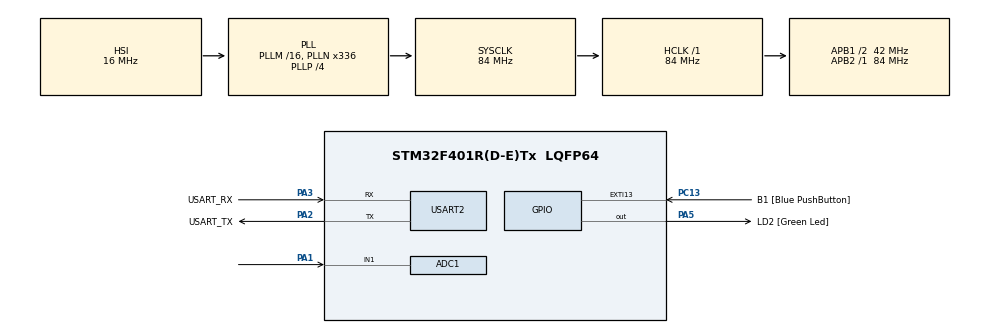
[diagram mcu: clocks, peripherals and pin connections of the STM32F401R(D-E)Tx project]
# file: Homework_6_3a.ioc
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ADC1.Channel-0\#ChannelRegularConversion=ADC_CHANNEL_1
ADC1.Channel-4\#ChannelRegularConversion=ADC_CHANNEL_TEMPSENSOR
ADC1.Channel-5\#ChannelRegularConversion=ADC_CHANNEL_VREFINT
ADC1.DMAContinuousRequests=ENABLE
ADC1.ExternalTrigConv=ADC_EXTERNALTRIGCONV_T2_TRGO
ADC1.InjNumberOfConversion=0
ADC1.NbrOfConversion=3
ADC1.NbrOfConversionFlag=1
ADC1.Rank-0\#ChannelRegularConversion=1
ADC1.Rank-4\#ChannelRegularConversion=2
ADC1.Rank-5\#ChannelRegularConversion=3
ADC1.SamplingTime-0\#ChannelRegularConversion=ADC_SAMPLETIME_480CYCLES
ADC1.SamplingTime-4\#ChannelRegularConversion=ADC_SAMPLETIME_480CYCLES
ADC1.SamplingTime-5\#ChannelRegularConversion=ADC_SAMPLETIME_480CYCLES
ADC1.master=1
Dma.ADC1.0.Direction=DMA_PERIPH_TO_MEMORY
Dma.ADC1.0.FIFOMode=DMA_FIFOMODE_DISABLE
Dma.ADC1.0.Instance=DMA2_Stream0
Dma.ADC1.0.MemDataAlignment=DMA_MDATAALIGN_HALFWORD
Dma.ADC1.0.MemInc=DMA_MINC_ENABLE
Dma.ADC1.0.Mode=DMA_CIRCULAR
Dma.ADC1.0.PeriphDataAlignment=DMA_PDATAALIGN_HALFWORD
Dma.ADC1.0.PeriphInc=DMA_PINC_DISABLE
Dma.ADC1.0.Priority=DMA_PRIORITY_LOW
Dma.Request0=ADC1
Dma.Request1=USART2_TX
Dma.USART2_TX.1.Direction=DMA_MEMORY_TO_PERIPH
Dma.USART2_TX.1.FIFOMode=DMA_FIFOMODE_DISABLE
Dma.USART2_TX.1.Instance=DMA1_Stream6
Dma.USART2_TX.1.MemDataAlignment=DMA_MDATAALIGN_BYTE
Dma.USART2_TX.1.MemInc=DMA_MINC_ENABLE
Dma.USART2_TX.1.Mode=DMA_NORMAL
Dma.USART2_TX.1.PeriphDataAlignment=DMA_PDATAALIGN_BYTE
Dma.USART2_TX.1.PeriphInc=DMA_PINC_DISABLE
Dma.USART2_TX.1.Priority=DMA_PRIORITY_LOW
Mcu.Family=STM32F4
Mcu.Name=STM32F401R(D-E)Tx
Mcu.Package=LQFP64
NVIC.ADC_IRQn=true\:0\:0\:false\:false\:true\:true\:true\:true
NVIC.DMA1_Stream6_IRQn=true\:0\:0\:false\:false\:true\:false\:true\:true
NVIC.DMA2_Stream0_IRQn=true\:0\:0\:false\:false\:true\:false\:true\:true
NVIC.PriorityGroup=NVIC_PRIORITYGROUP_0
NVIC.USART2_IRQn=true\:0\:0\:false\:false\:true\:true\:true\:true
PA1.Signal=ADCx_IN1
PA13.GPIO_Label=TMS
PA13.Mode=Serial_Wire
PA13.Signal=SYS_JTMS-SWDIO
PA14.GPIO_Label=TCK
PA14.Mode=Serial_Wire
PA14.Signal=SYS_JTCK-SWCLK
PA2.GPIO_Label=USART_TX
PA2.GPIO_Mode=GPIO_MODE_AF_PP
PA2.GPIO_PuPd=GPIO_NOPULL
PA2.GPIO_Speed=GPIO_SPEED_FREQ_LOW
PA2.Mode=Asynchronous
PA2.Signal=USART2_TX
PA3.GPIO_Label=USART_RX
PA3.GPIO_Mode=GPIO_MODE_AF_PP
PA3.GPIO_PuPd=GPIO_NOPULL
PA3.GPIO_Speed=GPIO_SPEED_FREQ_LOW
PA3.Mode=Asynchronous
PA3.Signal=USART2_RX
PA5.GPIO_Label=LD2 [Green Led]
PA5.GPIO_Mode=GPIO_MODE_OUTPUT_PP
PA5.GPIO_PuPd=GPIO_NOPULL
PA5.GPIO_Speed=GPIO_SPEED_FREQ_LOW
PA5.Signal=GPIO_Output
PB3.GPIO_Label=SWO
PB3.Signal=SYS_JTDO-SWO
PC13-ANTI_TAMP.GPIO_Label=B1 [Blue PushButton]
PC13-ANTI_TAMP.GPIO_ModeDefaultEXTI=GPIO_MODE_IT_FALLING
PC13-ANTI_TAMP.GPIO_PuPd=GPIO_NOPULL
PC13-ANTI_TAMP.Signal=GPXTI13
PC14-OSC32_IN.Mode=LSE-External-Oscillator
PC14-OSC32_IN.Signal=RCC_OSC32_IN
PC15-OSC32_OUT.Mode=LSE-External-Oscillator
PC15-OSC32_OUT.Signal=RCC_OSC32_OUT
PH0\ -\ OSC_IN.Mode=HSE-External-Clock-Source
PH0\ -\ OSC_IN.Signal=RCC_OSC_IN
PH1\ -\ OSC_OUT.Mode=HSE-External-Clock-Source
PH1\ -\ OSC_OUT.Signal=RCC_OSC_OUT
ProjectManager.HeapSize=0x200
ProjectManager.StackSize=0x400
ProjectManager.TargetToolchain=STM32CubeIDE
RCC.48MHZClocksFreq_Value=48000000
RCC.AHBFreq_Value=84000000
RCC.APB1CLKDivider=RCC_HCLK_DIV2
RCC.APB1Freq_Value=42000000
RCC.APB1TimFreq_Value=84000000
RCC.APB2Freq_Value=84000000
RCC.APB2TimFreq_Value=84000000
RCC.CortexFreq_Value=84000000
RCC.HCLKFreq_Value=84000000
RCC.HSE_VALUE=8000000
RCC.HSI_VALUE=16000000
RCC.PLLN=336
RCC.PLLP=RCC_PLLP_DIV4
RCC.PLLQ=7
RCC.SYSCLKFreq_VALUE=84000000
RCC.SYSCLKSource=RCC_SYSCLKSOURCE_PLLCLK
RCC.VCOOutputFreq_Value=336000000
SH.ADCx_IN1.0=ADC1_IN1,IN1
TIM2.Channel-Output\ Compare1\ No\ Output=TIM_CHANNEL_1
TIM2.Period=9999
TIM2.Prescaler=8399
TIM2.TIM_MasterOutputTrigger=TIM_TRGO_UPDATE
USART2.VirtualMode=VM_ASYNC
VP_ADC1_TempSens_Input.Mode=IN-TempSens
VP_ADC1_Vref_Input.Mode=IN-Vrefint
VP_TIM2_VS_ClockSourceINT.Mode=Internal
VP_TIM2_VS_no_output1.Mode=Output Compare1 No Output
board=NUCLEO-F401RE

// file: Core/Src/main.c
/* USER CODE BEGIN Header */
/**
  ******************************************************************************
  * @file           : main.c
  * @brief          : Main program body
  ******************************************************************************
  * @attention
  *
  * Copyright (c) 2024 STMicroelectronics.
  * All rights reserved.
  *
  * This software is licensed under terms that can be found in the LICENSE file
  * in the root directory of this software component.
  * If no LICENSE file comes with this software, it is provided AS-IS.
  *
  ******************************************************************************
  */
/* USER CODE END Header */
#include "main.h"
#include "math.h"

ADC_HandleTypeDef hadc1;
DMA_HandleTypeDef hdma_adc1;

TIM_HandleTypeDef htim2;

UART_HandleTypeDef huart2;
DMA_HandleTypeDef hdma_usart2_tx;

void SystemClock_Config(void);
static void MX_GPIO_Init(void);
static void MX_DMA_Init(void);
static void MX_USART2_UART_Init(void);
static void MX_ADC1_Init(void);
static void MX_TIM2_Init(void);

/* USER CODE BEGIN 0 */

uint16_t voltages[3]; //This array stores ADC readings from three different channels:
//voltages[0] → Potentiometer voltage
//voltages[1] → Temperature sensor voltage
//voltages[2] → Internal reference voltage (Vrefint)

void HAL_UART_TxCpltCallback(UART_HandleTypeDef *huart)
{
  if(huart == &huart2){
	  __HAL_DMA_CLEAR_FLAG(&hdma_usart2_tx, DMA_FLAG_TCIF2_6);  //Triggered when a UART DMA transmission is complete.
	  //Checks if the callback is from UART2.
	  //Clears the DMA transfer complete flag (DMA_FLAG_TCIF2_6) to indicate the transfer has finished.

  }
}
void HAL_ADC_ConvCpltCallback(ADC_HandleTypeDef *hadc) //Triggered when ADC conversion (DMA mode) is complete.Processes the ADC values and sends them via UART.

{
	if(hadc == &hadc1){
		float vpot = ((float)voltages[0])*3.3/4096.0;
			float vtemp = ((float)voltages[1])*3.3/4096.0 ;
			float vrefint = ((float)voltages[2])*3.3/4096.0;

			float temp = (vtemp-0.76)/0.0025 + 25;  //internal temperature sensor:0.76V → Voltage at 25°C.and 0.0025 V/°C → Voltage change per °C.

			static char string [74];

			int length= snprintf(string, sizeof(string), "Potentiometer: %.3f V  Temperature: %.3f degrees  Vrefint: %.3f V \r\n",vpot,temp,vrefint);
			HAL_UART_Transmit_DMA(&huart2, string, length);
	}

}

/* USER CODE END 0 */

int main(void)
{

  /* MCU Configuration--------------------------------------------------------*/

  /* Reset of all peripherals, Initializes the Flash interface and the Systick. */
  HAL_Init();

  /* Configure the system clock */
  SystemClock_Config();

  /* Initialize all configured peripherals */
  MX_GPIO_Init();
  MX_DMA_Init();
  MX_USART2_UART_Init();
  MX_ADC1_Init();
  MX_TIM2_Init();
  /* USER CODE BEGIN 2 */

  HAL_TIM_Base_Start(&htim2);

  HAL_ADC_Start_DMA(&hadc1, voltages, sizeof(voltages)/sizeof(uint16_t));
  /* USER CODE END 2 */

  /* Infinite loop */
  while (1)
  {

  }
}

void SystemClock_Config(void)
{
  RCC_OscInitTypeDef RCC_OscInitStruct = {0};
  RCC_ClkInitTypeDef RCC_ClkInitStruct = {0};

  /** Configure the main internal regulator output voltage
  */
  __HAL_RCC_PWR_CLK_ENABLE();
  __HAL_PWR_VOLTAGESCALING_CONFIG(PWR_REGULATOR_VOLTAGE_SCALE2);

  /** Initializes the RCC Oscillators according to the specified parameters
  * in the RCC_OscInitTypeDef structure.
  */
  RCC_OscInitStruct.OscillatorType = RCC_OSCILLATORTYPE_HSI;
  RCC_OscInitStruct.HSIState = RCC_HSI_ON;
  RCC_OscInitStruct.HSICalibrationValue = RCC_HSICALIBRATION_DEFAULT;
  RCC_OscInitStruct.PLL.PLLState = RCC_PLL_ON;
  RCC_OscInitStruct.PLL.PLLSource = RCC_PLLSOURCE_HSI;
  RCC_OscInitStruct.PLL.PLLM = 16;
  RCC_OscInitStruct.PLL.PLLN = 336;
  RCC_OscInitStruct.PLL.PLLP = RCC_PLLP_DIV4;
  RCC_OscInitStruct.PLL.PLLQ = 7;
  if (HAL_RCC_OscConfig(&RCC_OscInitStruct) != HAL_OK)
  {
    Error_Handler();
  }

  /** Initializes the CPU, AHB and APB buses clocks
  */
  RCC_ClkInitStruct.ClockType = RCC_CLOCKTYPE_HCLK|RCC_CLOCKTYPE_SYSCLK
                              |RCC_CLOCKTYPE_PCLK1|RCC_CLOCKTYPE_PCLK2;
  RCC_ClkInitStruct.SYSCLKSource = RCC_SYSCLKSOURCE_PLLCLK;
  RCC_ClkInitStruct.AHBCLKDivider = RCC_SYSCLK_DIV1;
  RCC_ClkInitStruct.APB1CLKDivider = RCC_HCLK_DIV2;
  RCC_ClkInitStruct.APB2CLKDivider = RCC_HCLK_DIV1;

  if (HAL_RCC_ClockConfig(&RCC_ClkInitStruct, FLASH_LATENCY_2) != HAL_OK)
  {
    Error_Handler();
  }
}

static void MX_ADC1_Init(void)
{

  ADC_ChannelConfTypeDef sConfig = {0};

  /** Configure the global features of the ADC (Clock, Resolution, Data Alignment and number of conversion)
  */
  hadc1.Instance = ADC1;
  hadc1.Init.ClockPrescaler = ADC_CLOCK_SYNC_PCLK_DIV4;
  hadc1.Init.Resolution = ADC_RESOLUTION_12B;
  hadc1.Init.ScanConvMode = ENABLE;
  hadc1.Init.ContinuousConvMode = DISABLE;
  hadc1.Init.DiscontinuousConvMode = DISABLE;
  hadc1.Init.ExternalTrigConvEdge = ADC_EXTERNALTRIGCONVEDGE_RISING;
  hadc1.Init.ExternalTrigConv = ADC_EXTERNALTRIGCONV_T2_TRGO;
  hadc1.Init.DataAlign = ADC_DATAALIGN_RIGHT;
  hadc1.Init.NbrOfConversion = 3;
  hadc1.Init.DMAContinuousRequests = ENABLE;
  hadc1.Init.EOCSelection = ADC_EOC_SINGLE_CONV;
  if (HAL_ADC_Init(&hadc1) != HAL_OK)
  {
    Error_Handler();
  }

  /** Configure for the selected ADC regular channel its corresponding rank in the sequencer and its sample time.
  */
  sConfig.Channel = ADC_CHANNEL_1;
  sConfig.Rank = 1;
  sConfig.SamplingTime = ADC_SAMPLETIME_480CYCLES;
  if (HAL_ADC_ConfigChannel(&hadc1, &sConfig) != HAL_OK)
  {
    Error_Handler();
  }

  /** Configure for the selected ADC regular channel its corresponding rank in the sequencer and its sample time.
  */
  sConfig.Channel = ADC_CHANNEL_TEMPSENSOR;
  sConfig.Rank = 2;
  if (HAL_ADC_ConfigChannel(&hadc1, &sConfig) != HAL_OK)
  {
    Error_Handler();
  }

  /** Configure for the selected ADC regular channel its corresponding rank in the sequencer and its sample time.
  */
  sConfig.Channel = ADC_CHANNEL_VREFINT;
  sConfig.Rank = 3;
  if (HAL_ADC_ConfigChannel(&hadc1, &sConfig) != HAL_OK)
  {
    Error_Handler();
  }

}

static void MX_TIM2_Init(void)
{

  TIM_ClockConfigTypeDef sClockSourceConfig = {0};
  TIM_MasterConfigTypeDef sMasterConfig = {0};
  TIM_OC_InitTypeDef sConfigOC = {0};

  htim2.Instance = TIM2;
  htim2.Init.Prescaler = 8399;
  htim2.Init.CounterMode = TIM_COUNTERMODE_UP;
  htim2.Init.Period = 9999;
  htim2.Init.ClockDivision = TIM_CLOCKDIVISION_DIV1;
  htim2.Init.AutoReloadPreload = TIM_AUTORELOAD_PRELOAD_DISABLE;
  if (HAL_TIM_Base_Init(&htim2) != HAL_OK)
  {
    Error_Handler();
  }
  sClockSourceConfig.ClockSource = TIM_CLOCKSOURCE_INTERNAL;
  if (HAL_TIM_ConfigClockSource(&htim2, &sClockSourceConfig) != HAL_OK)
  {
    Error_Handler();
  }
  if (HAL_TIM_OC_Init(&htim2) != HAL_OK)
  {
    Error_Handler();
  }
  sMasterConfig.MasterOutputTrigger = TIM_TRGO_UPDATE;
  sMasterConfig.MasterSlaveMode = TIM_MASTERSLAVEMODE_DISABLE;
  if (HAL_TIMEx_MasterConfigSynchronization(&htim2, &sMasterConfig) != HAL_OK)
  {
    Error_Handler();
  }
  sConfigOC.OCMode = TIM_OCMODE_TIMING;
  sConfigOC.Pulse = 0;
  sConfigOC.OCPolarity = TIM_OCPOLARITY_HIGH;
  sConfigOC.OCFastMode = TIM_OCFAST_DISABLE;
  if (HAL_TIM_OC_ConfigChannel(&htim2, &sConfigOC, TIM_CHANNEL_1) != HAL_OK)
  {
    Error_Handler();
  }

}

static void MX_USART2_UART_Init(void)
{

  huart2.Instance = USART2;
  huart2.Init.BaudRate = 115200;
  huart2.Init.WordLength = UART_WORDLENGTH_8B;
  huart2.Init.StopBits = UART_STOPBITS_1;
  huart2.Init.Parity = UART_PARITY_NONE;
  huart2.Init.Mode = UART_MODE_TX_RX;
  huart2.Init.HwFlowCtl = UART_HWCONTROL_NONE;
  huart2.Init.OverSampling = UART_OVERSAMPLING_16;
  if (HAL_UART_Init(&huart2) != HAL_OK)
  {
    Error_Handler();
  }

}

static void MX_DMA_Init(void)
{

  /* DMA controller clock enable */
  __HAL_RCC_DMA2_CLK_ENABLE();
  __HAL_RCC_DMA1_CLK_ENABLE();

  /* DMA interrupt init */
  /* DMA1_Stream6_IRQn interrupt configuration */
  HAL_NVIC_SetPriority(DMA1_Stream6_IRQn, 0, 0);
  HAL_NVIC_EnableIRQ(DMA1_Stream6_IRQn);
  /* DMA2_Stream0_IRQn interrupt configuration */
  HAL_NVIC_SetPriority(DMA2_Stream0_IRQn, 0, 0);
  HAL_NVIC_EnableIRQ(DMA2_Stream0_IRQn);

}

static void MX_GPIO_Init(void)
{
  GPIO_InitTypeDef GPIO_InitStruct = {0};

  /* GPIO Ports Clock Enable */
  __HAL_RCC_GPIOC_CLK_ENABLE();
  __HAL_RCC_GPIOH_CLK_ENABLE();
  __HAL_RCC_GPIOA_CLK_ENABLE();
  __HAL_RCC_GPIOB_CLK_ENABLE();

  /*Configure GPIO pin Output Level */
  HAL_GPIO_WritePin(LD2_GPIO_Port, LD2_Pin, GPIO_PIN_RESET);

  /*Configure GPIO pin : B1_Pin */
  GPIO_InitStruct.Pin = B1_Pin;
  GPIO_InitStruct.Mode = GPIO_MODE_IT_FALLING;
  GPIO_InitStruct.Pull = GPIO_NOPULL;
  HAL_GPIO_Init(B1_GPIO_Port, &GPIO_InitStruct);

  /*Configure GPIO pin : LD2_Pin */
  GPIO_InitStruct.Pin = LD2_Pin;
  GPIO_InitStruct.Mode = GPIO_MODE_OUTPUT_PP;
  GPIO_InitStruct.Pull = GPIO_NOPULL;
  GPIO_InitStruct.Speed = GPIO_SPEED_FREQ_LOW;
  HAL_GPIO_Init(LD2_GPIO_Port, &GPIO_InitStruct);

}

void Error_Handler(void)
{
  __disable_irq();
  while (1)
  {
  }
}
